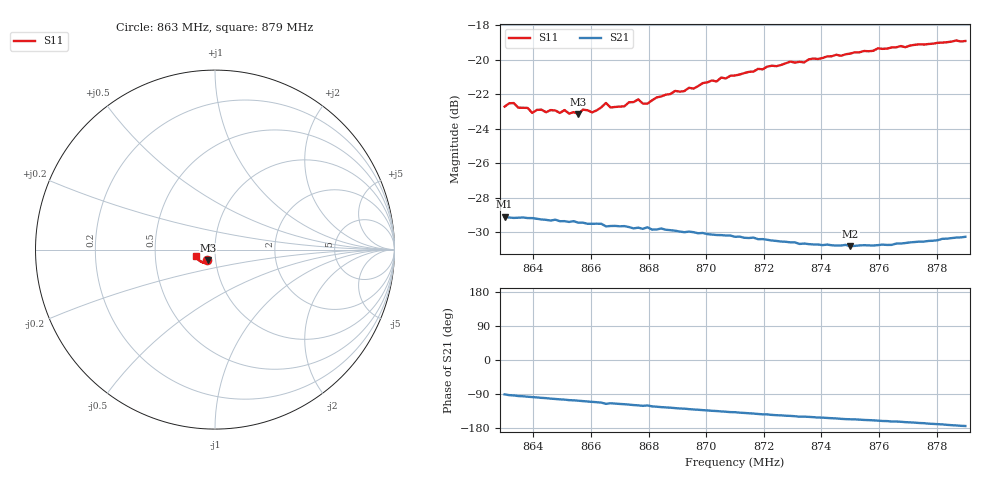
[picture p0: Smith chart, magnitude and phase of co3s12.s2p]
# HZ S RI R 50
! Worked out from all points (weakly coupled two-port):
!   101 points, 863 MHz to 879 MHz, reference 50 ohm
!   highest |S21| = -29.10 dB at 863 MHz (marker M1); lowest = -30.8 dB at 875 MHz (marker M2)
!   lowest |S11| = -23.1 dB at 865.56 MHz (marker M3), VSWR 1.15, Z = 46 - j5.34 ohm
!   |S11| at or under -10 dB: start of sweep to end of sweep
!   S12 and S22 are empty: the file has one direction only
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8.63e8  -0.0441 -0.0583  -0.000482 -0.0351  0 0  0 0
8.6332e8  -0.046 -0.0591  -0.00222 -0.0348  0 0  0 0
8.6348e8  -0.0432 -0.0583  -0.00311 -0.0347  0 0  0 0
8.638e8  -0.0441 -0.0575  -0.00418 -0.0345  0 0  0 0
8.6396e8  -0.0411 -0.0568  -0.00473 -0.0345  0 0  0 0
8.6412e8  -0.0418 -0.058  -0.0052 -0.0342  0 0  0 0
8.6492e8  -0.0398 -0.0577  -0.00814 -0.0331  0 0  0 0
8.6508e8  -0.0394 -0.0596  -0.00856 -0.033  0 0  0 0
8.6556e8  -0.0389 -0.0578  -0.0101 -0.0322  0 0  0 0
8.6572e8  -0.0376 -0.061  -0.0107 -0.032  0 0  0 0
8.6604e8  -0.0374 -0.0596  -0.0117 -0.0314  0 0  0 0
8.6652e8  -0.0413 -0.0625  -0.0143 -0.0297  0 0  0 0
8.6668e8  -0.038 -0.0619  -0.0135 -0.0301  0 0  0 0
8.6716e8  -0.037 -0.0632  -0.0148 -0.0295  0 0  0 0
8.6764e8  -0.0407 -0.0651  -0.0162 -0.0284  0 0  0 0
8.6796e8  -0.0372 -0.0647  -0.0163 -0.0284  0 0  0 0
8.6844e8  -0.0405 -0.0669  -0.0183 -0.0268  0 0  0 0
8.71e8  -0.0532 -0.0726  -0.0227 -0.0206  0 0  0 0
8.7372e8  -0.0713 -0.0712  -0.0255 -0.0142  0 0  0 0
8.75e8  -0.0819 -0.0642  -0.0264 -0.0116  0 0  0 0
8.7644e8  -0.0921 -0.0571  -0.0277 -0.0088  0 0  0 0
8.79e8  -0.1075 -0.0354  -0.0306 -0.0031  0 0  0 0
